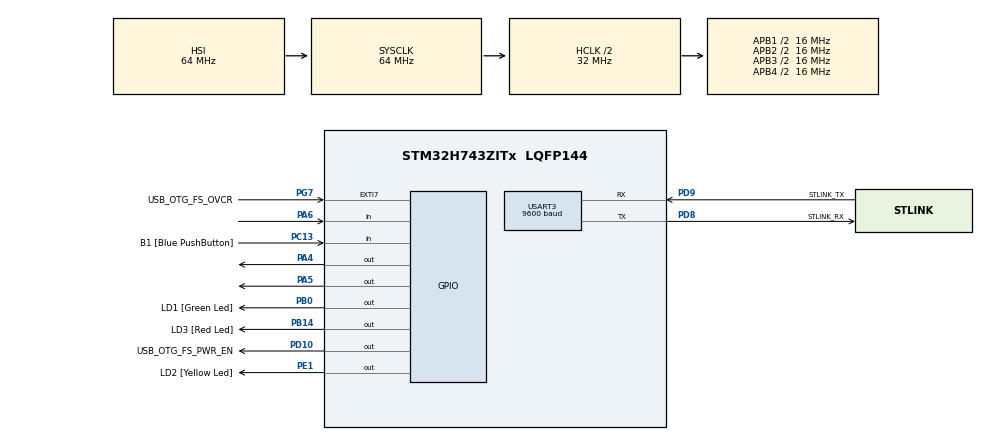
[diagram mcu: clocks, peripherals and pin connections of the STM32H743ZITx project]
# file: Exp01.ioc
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Mcu.Family=STM32H7
Mcu.Name=STM32H743ZITx
Mcu.Package=LQFP144
NVIC.PriorityGroup=NVIC_PRIORITYGROUP_4
NVIC.TIM6_DAC_IRQn=true\:0\:0\:false\:false\:true\:true\:true\:true
NVIC.USART3_IRQn=true\:0\:0\:false\:false\:true\:true\:true\:true
PA1.Signal=ETH_REF_CLK
PA11.Signal=USB_OTG_FS_DM
PA12.Signal=USB_OTG_FS_DP
PA2.Signal=ETH_MDIO
PA4.Signal=GPIO_Output
PA5.Signal=GPIO_Output
PA6.Signal=GPIO_Input
PA8.Signal=USB_OTG_FS_SOF
PA9.Signal=USB_OTG_FS_VBUS
PB0.GPIO_Label=LD1 [Green Led]
PB0.PinState=GPIO_PIN_RESET
PB0.Signal=GPIO_Output
PB13.Signal=ETH_TXD1
PB14.GPIO_Label=LD3 [Red Led]
PB14.PinState=GPIO_PIN_SET
PB14.Signal=GPIO_Output
PC1.Signal=ETH_MDC
PC13.GPIO_Label=B1 [Blue PushButton]
PC13.Signal=GPIO_Input
PC14-OSC32_IN\ (OSC32_IN).Mode=LSE-External-Oscillator
PC14-OSC32_IN\ (OSC32_IN).Signal=RCC_OSC32_IN
PC15-OSC32_OUT\ (OSC32_OUT).Mode=LSE-External-Oscillator
PC15-OSC32_OUT\ (OSC32_OUT).Signal=RCC_OSC32_OUT
PC4.Signal=ETH_RXD0
PC5.Signal=ETH_RXD1
PD10.GPIO_Label=USB_OTG_FS_PWR_EN
PD10.Signal=GPIO_Output
PD8.GPIO_Label=STLINK_RX
PD8.Mode=Asynchronous
PD8.Signal=USART3_TX
PD9.GPIO_Label=STLINK_TX
PD9.Mode=Asynchronous
PD9.Signal=USART3_RX
PE1.GPIO_Label=LD2 [Yellow Led]
PE1.PinState=GPIO_PIN_SET
PE1.Signal=GPIO_Output
PG11.Signal=ETH_TX_EN
PG13.Signal=ETH_TXD0
PG7.GPIO_Label=USB_OTG_FS_OVCR
PG7.Signal=GPXTI7
PH0-OSC_IN\ (PH0).Mode=HSE-External-Clock-Source
PH0-OSC_IN\ (PH0).Signal=RCC_OSC_IN
PH1-OSC_OUT\ (PH1).Signal=RCC_OSC_OUT
ProjectManager.HeapSize=0x200
ProjectManager.StackSize=0x400
ProjectManager.TargetToolchain=STM32CubeIDE
RCC.ADCFreq_Value=16125000
RCC.APB1Freq_Value=16000000
RCC.APB2Freq_Value=16000000
RCC.APB3Freq_Value=16000000
RCC.APB4Freq_Value=16000000
RCC.CortexFreq_Value=64000000
RCC.D1PPRE=RCC_APB3_DIV2
RCC.D2PPRE1=RCC_APB1_DIV2
RCC.D2PPRE2=RCC_APB2_DIV2
RCC.D3PPRE=RCC_APB4_DIV2
RCC.DIVM1=1
RCC.DIVN1=120
RCC.DIVQ1=4
RCC.HCLKFreq_Value=32000000
RCC.HPRE=RCC_HCLK_DIV2
RCC.HSE_VALUE=8000000
RCC.PLL2FRACN=0
RCC.PLL3FRACN=0
RCC.PLLFRACN=0
RCC.PLLSourceVirtual=RCC_PLLSOURCE_HSE
RCC.PWR_Regulator_Voltage_Scale=PWR_REGULATOR_VOLTAGE_SCALE2
RCC.SYSCLKFreq_VALUE=64000000
RCC.USBFreq_Value=240000000
TIM6.Prescaler=3000
USART3.BaudRate=9600
USART3.VirtualMode-Asynchronous=VM_ASYNC
VP_MEMORYMAP_VS_MEMORYMAP.Mode=CurAppReg
VP_TIM6_VS_ClockSourceINT.Mode=Enable_Timer
board=NUCLEO-H743ZI2

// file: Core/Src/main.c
/* USER CODE BEGIN Header */
/**
  ******************************************************************************
  * @file           : main.c
  * @brief          : Main program body
  ******************************************************************************
  * @attention
  *
  * Copyright (c) 2023 STMicroelectronics.
  * All rights reserved.
  *
  * This software is licensed under terms that can be found in the LICENSE file
  * in the root directory of this software component.
  * If no LICENSE file comes with this software, it is provided AS-IS.
  *
  ******************************************************************************
  */
/* USER CODE END Header */
#include "main.h"
#include "tim.h"
#include "usart.h"
#include "gpio.h"

/* USER CODE BEGIN Includes */
#include <string.h>
#include <stdbool.h>
/* USER CODE END Includes */

/* USER CODE BEGIN PTD */
/*if (rx_string_ready == true)
	      {
	        // Stringa ricevuta! Abbassa subito il flag.
	        rx_string_ready = false;

	        // Processa il comando ricevuto
	        if (strcmp((char*)rx_buffer, "LED_ON") == 0) {
	        	GPIOA -> ODR |= (1<<5);
	            strcpy((char*)tx_buffer, "OK: LED acceso\r\n");
	        }
	        else if (strcmp((char*)rx_buffer, "LED_OFF") == 0) {
	        	GPIOA -> ODR &= ~(1<<5);
	            strcpy((char*)tx_buffer, "OK: LED spento\r\n");
	        }
	        else {
	            strcpy((char*)tx_buffer, "Errore: Comando non valido\r\n");
	        }

	        // Prepara e innesca la trasmissione della risposta
	        tx_index = 0;
	        USART3->CR1 |= USART_CR1_TXEIE; // Abilita l'interrupt di trasmissione
	      }*/
/* USER CODE END PTD */

/* USER CODE BEGIN PD */
unsigned int numero_cicli;
unsigned int led_status = 0 ;
/* USER CODE END PD */

/* USER CODE BEGIN PV */
volatile unsigned int interruttore; //prendere tempo in maniera più razionale
volatile char dato;
#define RX_BUFFER_SIZE 64
 volatile uint8_t rx_buffer[RX_BUFFER_SIZE];
 volatile uint16_t rx_index;
 volatile bool rx_string_ready;

#define TX_BUFFER_SIZE 64
volatile uint8_t tx_buffer[TX_BUFFER_SIZE];
 volatile uint16_t tx_index;

#define N_CAMPIONI 100
int32_t vet_dif[N_CAMPIONI];
volatile uint16_t campione_da_inviare_idx = 0; // Indice per vet_dif
// --- Buffer e variabili GLOBALI per la comunicazione USART ---
// DEFINIZIONE (con inizializzazione)

/* USER CODE END PV */

void SystemClock_Config(void);
/* USER CODE BEGIN PFP */
void CalcolaEPreparaDati(void);
/* USER CODE END PFP */

/* USER CODE BEGIN 0 */
void CalcolaEPreparaDati(void)
{
    float tau1 = 15.0f;
    float tau2 = 10.0f;
    float delta_t = 1.0f;
    int A_m = 60000;
    int scala = 10;
    int coeff = 1 << scala;

    uint16_t costante_1 = (uint16_t)(floor(exp(-delta_t / tau1) * coeff));
    uint16_t costante_2 = (uint16_t)(floor(exp(-delta_t / tau2) * coeff));

    uint16_t vet1[N_CAMPIONI];
    uint16_t vet2[N_CAMPIONI];

    vet1[0] = A_m;
    vet2[0] = A_m;

    for (int k = 1; k < N_CAMPIONI; k++) {
        uint32_t moltiplicazione1 = (uint32_t)vet1[k - 1] * costante_1;
        uint32_t moltiplicazione2 = (uint32_t)vet2[k - 1] * costante_2;
        vet1[k] = (uint16_t)(moltiplicazione1 >> scala);
        vet2[k] = (uint16_t)(moltiplicazione2 >> scala);
    }

    for (int i = 0; i < N_CAMPIONI; i++) {
        vet_dif[i] = (int32_t)vet1[i] - (int32_t)vet2[i];
    }
}

/* USER CODE END 0 */

int main(void)
{

  /* USER CODE BEGIN 1 */

//Queste sono variabili che useremo
//Abituiamoci ad inserire commenti
	unsigned int cc=2000;
	unsigned int attesa= 1;
    unsigned int il_clock_impostato,  ripetizioni;
    char led_acceso=1;

//Un indirizzo che possiamo usare per un attimo: 0x2407fff8

//Cominciamo ad abituarci ad evitare l'uso dei numeri, quando possibile. Usiamo invece definizioni o
//dichiarazioni di variabili e/o costanti
	#define interruttore_lampadina  GPIOB->BSRR
	#define accendi_lampadina (1<<0)
	#define spegni_lampadina (1<<(0+16))

//Useremo tra poco per misurare il tempo
	DWT->CTRL |= DWT_CTRL_CYCCNTENA_Msk ; //Abilitiamo il conta cicli macchina
//	DBGMCU->APB1LFZ1 |= DBGMCU_APB1LFZ1_DBG_TIM6_Msk; //Stoppiamo TIM6 al breakpoint
//	DWT->CYCCNT=0;  //Azzeriamo il contacicli macchina per comodità
//
	il_clock_impostato = HAL_RCC_GetSysClockFreq ()  ;
//	ripetizioni = il_clock_impostato / 12;
  /* USER CODE END 1 */

  /* MCU Configuration--------------------------------------------------------*/

  /* Reset of all peripherals, Initializes the Flash interface and the Systick. */
  HAL_Init();

  /* Configure the system clock */
  SystemClock_Config();

  /* Initialize all configured peripherals */
  MX_GPIO_Init();
  MX_USART3_UART_Init();
  MX_TIM6_Init();
  /* USER CODE BEGIN 2 */
  /*accendiamo orologio e timer*/
  TIM6-> ARR=10000;
  TIM6 -> CR1 |= TIM_CR1_CEN; //counter enable nomefamiglia_cassettino_nomeflag
  //TIM6 -> CR1 = TIM6 -> CR1 || TIM6_CR1_CEN << OPERATORE di scorrimento quindi posso (1<<k)
  TIM6-> CNT= 0 ; //Accendiamo il timer primo di entrare nel ciclo while
  TIM6 -> DIER	|= TIM_DIER_UIE;
  TIM6 -> PSC = 500 ;
  USART3 -> CR1 |= USART_CR1_FIFOEN;
  USART3-> CR1 |= USART_CR1_TE | USART_CR1_RE | USART_CR1_RXNEIE ;

  USART3 -> CR1 |= USART_CR1_UE;
  const char* hello_message = "Hello from STM32!\n";
  CalcolaEPreparaDati();

  /* USER CODE END 2 */

  /* Infinite loop */
  while (1)
  {

    /* USER CODE BEGIN 3 */
	  // Controlla se l'interrupt di ricezione ha segnalato una nuova stringa
	      /*if (rx_string_ready == true)
	      {
	        // Stringa ricevuta! Abbassa subito il flag.
	        rx_string_ready = false;

	        // Processa il comando ricevuto
	        if (strcmp((char*)rx_buffer, "LED_ON") == 0) {
	        	GPIOA -> ODR |= (1<<5);
	            strcpy((char*)tx_buffer, "OK: LED acceso\r\n");
	        }
	        else if (strcmp((char*)rx_buffer, "LED_OFF") == 0) {
	        	GPIOA -> ODR &= ~(1<<5);
	            strcpy((char*)tx_buffer, "OK: LED spento\r\n");
	        }
	        else {
	            strcpy((char*)tx_buffer, "Errore: Comando non valido\r\n");
	        }

	        // Prepara e innesca la trasmissione della risposta
	        tx_index = 0;
	        USART3->CR1 |= USART_CR1_TXEIE; // Abilita l'interrupt di trasmissione
	      }*/

	  if (rx_string_ready == true)
	      {
	        // Comando ricevuto! Abbassa subito il flag.
	        rx_string_ready = false;

	        // Processa il comando
	        if (strcmp((char*)rx_buffer, "s") == 0)
	        {
	          // Controlla se ci sono ancora campioni da inviare
	          if (campione_da_inviare_idx < N_CAMPIONI)
	          {
	            // Converti il numero corrente in una stringa di testo
	            // %ld è il formato corretto per un long int (int32_t)
	            sprintf((char*)tx_buffer, "%ld\r\n", vet_dif[campione_da_inviare_idx]);

	            // Avanza l'indice per la prossima richiesta
	            campione_da_inviare_idx++;
	          }
	          else
	          {
	            // Abbiamo finito di inviare tutti i campioni
	            strcpy((char*)tx_buffer, "Fine trasmissione.\r\n");
	            campione_da_inviare_idx = 0; // Resetta per permettere di ricominciare
	          }

	          // Innesca la trasmissione della stringa preparata
	          tx_index = 0;
	          USART3->CR1 |= USART_CR1_TXEIE;
	        }
	      }

	  /*if (rx_string_ready == true) {

		  rx_string_ready = false;

		  strcpy((char*)tx_buffer, (const char*)rx_buffer);
		  //strcat((char*)tx_buffer, "\r\n");

		  tx_index = 0;
		  USART3->CR1 |= USART_CR1_TXEIE;

	  }*/

	  /* 1. Copia il messaggio nel buffer di trasmissione.
	      strcpy((char*)tx_buffer, hello_message);

	      // 2. Resetta l'indice.
	      tx_index = 0;

	      // 3. INNESCA LA TRASMISSIONE abilitando l'interrupt TXE.
	      USART3->CR1 |= USART_CR1_TXEIE;

	      // 4. Aspetta 2 secondi.
	      HAL_Delay(2000);*/
  }

  /* USER CODE END 3 */
}

void SystemClock_Config(void)
{
  RCC_OscInitTypeDef RCC_OscInitStruct = {0};
  RCC_ClkInitTypeDef RCC_ClkInitStruct = {0};

  /** Supply configuration update enable
  */
  HAL_PWREx_ConfigSupply(PWR_LDO_SUPPLY);

  /** Configure the main internal regulator output voltage
  */
  __HAL_PWR_VOLTAGESCALING_CONFIG(PWR_REGULATOR_VOLTAGE_SCALE2);

  while(!__HAL_PWR_GET_FLAG(PWR_FLAG_VOSRDY)) {}

  /** Initializes the RCC Oscillators according to the specified parameters
  * in the RCC_OscInitTypeDef structure.
  */
  RCC_OscInitStruct.OscillatorType = RCC_OSCILLATORTYPE_HSI;
  RCC_OscInitStruct.HSIState = RCC_HSI_DIV1;
  RCC_OscInitStruct.HSICalibrationValue = RCC_HSICALIBRATION_DEFAULT;
  RCC_OscInitStruct.PLL.PLLState = RCC_PLL_NONE;
  if (HAL_RCC_OscConfig(&RCC_OscInitStruct) != HAL_OK)
  {
    Error_Handler();
  }

  /** Initializes the CPU, AHB and APB buses clocks
  */
  RCC_ClkInitStruct.ClockType = RCC_CLOCKTYPE_HCLK|RCC_CLOCKTYPE_SYSCLK
                              |RCC_CLOCKTYPE_PCLK1|RCC_CLOCKTYPE_PCLK2
                              |RCC_CLOCKTYPE_D3PCLK1|RCC_CLOCKTYPE_D1PCLK1;
  RCC_ClkInitStruct.SYSCLKSource = RCC_SYSCLKSOURCE_HSI;
  RCC_ClkInitStruct.SYSCLKDivider = RCC_SYSCLK_DIV1;
  RCC_ClkInitStruct.AHBCLKDivider = RCC_HCLK_DIV2;
  RCC_ClkInitStruct.APB3CLKDivider = RCC_APB3_DIV2;
  RCC_ClkInitStruct.APB1CLKDivider = RCC_APB1_DIV2;
  RCC_ClkInitStruct.APB2CLKDivider = RCC_APB2_DIV2;
  RCC_ClkInitStruct.APB4CLKDivider = RCC_APB4_DIV2;

  if (HAL_RCC_ClockConfig(&RCC_ClkInitStruct, FLASH_LATENCY_0) != HAL_OK)
  {
    Error_Handler();
  }
}

void Error_Handler(void)
{
  __disable_irq();
  while (1)
  {
  }
}
